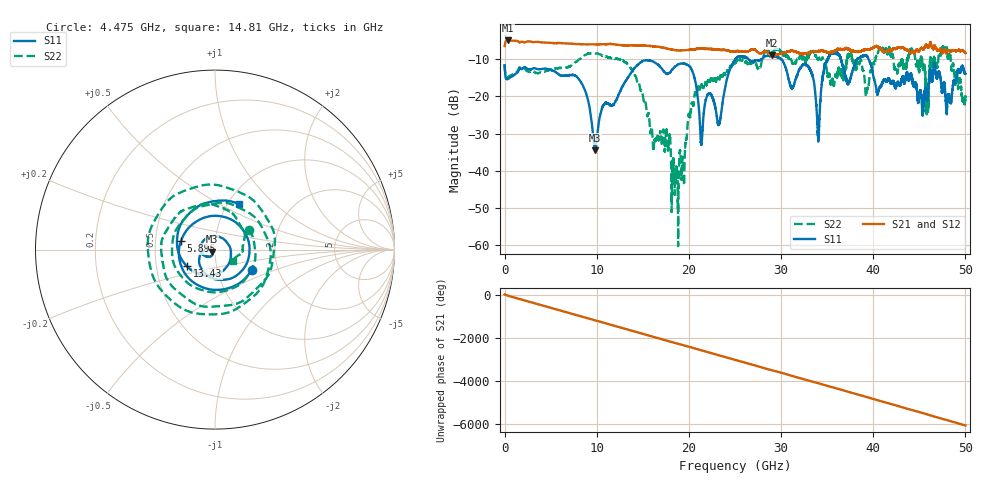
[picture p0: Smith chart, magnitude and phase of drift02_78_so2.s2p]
!Created with skrf (http://scikit-rf.org).
# Hz S RI R 50.0
!freq ReS11 ImS11 ReS21 ImS21 ReS12 ImS12 ReS22 ImS22
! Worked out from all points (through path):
!   10001 points, 300 kHz to 50 GHz, reference 50 ohm
!   highest |S21| = -5.04 dB at 325.3 MHz (marker M1); lowest = -9.0 dB at 28.98 GHz (marker M2)
!   group delay of S21, straight-line fit = 336 ps
!   lowest |S11| = -34.5 dB at 9.84 GHz (marker M3), VSWR 1.04, Z = 48.5 - j1.03 ohm
!   |S11| at or under -10 dB: start of sweep to 25.07 GHz; 29.97 GHz to 35.06 GHz (5.092 GHz wide, 15.7 % of centre); 39.48 GHz to end of sweep (the widest 3 of 6)
!   |S22| runs from -60.2 to -6.5 dB; largest |S21 - S12| = 0.021
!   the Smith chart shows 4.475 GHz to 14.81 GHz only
!   S11 on the Smith chart (normalised r, x): 4.475 GHz: 1.46, -0.35; 5.895 GHz: 0.68, +0.07; 13.43 GHz: 0.72, -0.14; 14.81 GHz: 1.12, +0.62
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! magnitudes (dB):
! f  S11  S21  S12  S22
! 300 kHz  -11.7  -6.5  -6.4  -11.6
! 325.3 MHz  -15.4  -5.0  -5.0  -15.0
! 4.475 GHz  -12.6  -5.6  -5.6  -13.2
! 5.895 GHz  -14.2  -5.7  -5.7  -12.4
! 8.335 GHz  -16.4  -6.0  -6.0  -9.6
! 9.84 GHz  -34.5  -6.1  -6.1  -8.5
! 13.43 GHz  -14.8  -6.4  -6.4  -11.6
! 14.81 GHz  -10.8  -6.4  -6.4  -18.5
! 16.67 GHz  -11.6  -6.7  -6.7  -31.3
! 18.66 GHz  -11.8  -7.7  -7.7  -39.2
! 20.38 GHz  -13.3  -7.5  -7.5  -21.7
! 21.37 GHz  -32.3  -7.2  -7.2  -16.9
! 23.31 GHz  -27.3  -7.5  -7.6  -15.6
! 25 GHz  -10.3  -8.0  -7.9  -11.2
! 28.98 GHz  -9.1  -9.0  -9.0  -8.3
! 33.34 GHz  -13.9  -8.0  -8.1  -8.0
! 34.02 GHz  -31.8  -7.9  -7.9  -10.2
! 35.54 GHz  -8.4  -8.1  -8.1  -15.4
! 41.67 GHz  -15.3  -7.7  -7.8  -7.4
! 45.87 GHz  -20.6  -6.8  -6.9  -21.4
! 47.76 GHz  -17.2  -7.5  -7.5  -7.5
! 50 GHz  -14.0  -8.4  -8.4  -20.3
